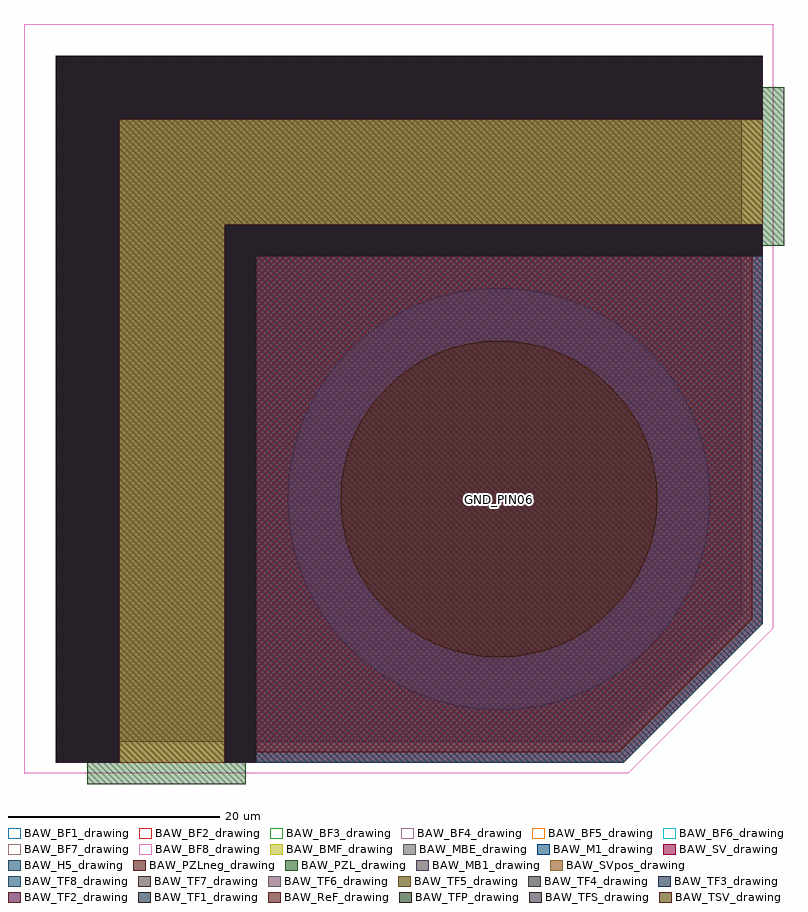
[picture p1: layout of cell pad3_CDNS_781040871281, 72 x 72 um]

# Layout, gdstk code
from math import pi, radians
import gdstk
lib = gdstk.Library(unit=1e-6, precision=1e-09)
def P(c, l, *ps):  # polygons
    for p in ps: c.add(gdstk.Polygon(p, *l))
BAW_MBE_drawing = (2, 0)
BAW_PZL_drawing = (6, 0)
BAW_SV_drawing = (7, 0)
BAW_M1_drawing = (8, 0)
BAW_MB1_drawing = (10, 0)
BAW_TSV_drawing = (11, 0)
BAW_TFS_drawing = (25, 0)
BAW_TFP_drawing = (26, 0)
BAW_TF1_drawing = (27, 0)
BAW_TF2_drawing = (28, 0)
BAW_TF3_drawing = (29, 0)
BAW_TF4_drawing = (30, 0)
BAW_TF5_drawing = (31, 0)
BAW_TF6_drawing = (32, 0)
BAW_ReF_drawing = (33, 0)
EM_VPT_drawing = (35, 0)
BAW_TF7_drawing = (48, 0)
BAW_TF8_drawing = (49, 0)
BAW_BMF_drawing = (55, 0)
BAW_BF1_drawing = (140, 0)
BAW_BF2_drawing = (141, 0)
BAW_BF3_drawing = (142, 0)
BAW_BF4_drawing = (143, 0)
BAW_BF5_drawing = (144, 0)
BAW_BF6_drawing = (145, 0)
BAW_BF7_drawing = (146, 0)
BAW_BF8_drawing = (147, 0)
BAW_H5_drawing = (202, 0)
BAW_PZLneg_drawing = (264, 0)
BAW_SVpos_drawing = (265, 0)

pzlb3_cdns_781040871282 = lib.new_cell('pzlb3_CDNS_781040871282')
P(pzlb3_cdns_781040871282, BAW_BF1_drawing, [(65,19),(19,19),(19,65),(-6,65),(-6,-6),(65,-6)])
P(pzlb3_cdns_781040871282, BAW_BF2_drawing, [(65,19),(19,19),(19,65),(-6,65),(-6,-6),(65,-6)])
P(pzlb3_cdns_781040871282, BAW_BF3_drawing, [(65,19),(19,19),(19,65),(-6,65),(-6,-6),(65,-6)])
P(pzlb3_cdns_781040871282, BAW_BF4_drawing, [(65,19),(19,19),(19,65),(-6,65),(-6,-6),(65,-6)])
P(pzlb3_cdns_781040871282, BAW_BF5_drawing, [(65,19),(19,19),(19,65),(-6,65),(-6,-6),(65,-6)])
P(pzlb3_cdns_781040871282, BAW_BF6_drawing, [(65,19),(19,19),(19,65),(-6,65),(-6,-6),(65,-6)])
P(pzlb3_cdns_781040871282, BAW_BF7_drawing, [(65,19),(19,19),(19,65),(-6,65),(-6,-6),(65,-6)])
P(pzlb3_cdns_781040871282, BAW_BF8_drawing, [(65,19),(19,19),(19,65),(-6,65),(-6,-6),(65,-6)])
pzlb3_cdns_781040871282.add(gdstk.FlexPath([(7.5,66),(7.5,7.5),(66,7.5)], 15, ends="flush", simple_path=True, layer=6, datatype=0))  # BAW_PZL_drawing
pzlb3_cdns_781040871282.add(gdstk.FlexPath([(0,64),(0,0),(64,0)], 6, ends="flush", simple_path=True, layer=49, datatype=0))  # BAW_TF8_drawing
pzlb3_cdns_781040871282.add(gdstk.FlexPath([(14.5,64),(14.5,14.5),(64,14.5)], 3, ends="flush", simple_path=True, layer=49, datatype=0))  # BAW_TF8_drawing
pzlb3_cdns_781040871282.add(gdstk.FlexPath([(0,64),(0,0),(64,0)], 6, ends="flush", simple_path=True, layer=48, datatype=0))  # BAW_TF7_drawing
pzlb3_cdns_781040871282.add(gdstk.FlexPath([(14.5,64),(14.5,14.5),(64,14.5)], 3, ends="flush", simple_path=True, layer=48, datatype=0))  # BAW_TF7_drawing
pzlb3_cdns_781040871282.add(gdstk.FlexPath([(0,64),(0,0),(64,0)], 6, ends="flush", simple_path=True, layer=32, datatype=0))  # BAW_TF6_drawing
pzlb3_cdns_781040871282.add(gdstk.FlexPath([(14.5,64),(14.5,14.5),(64,14.5)], 3, ends="flush", simple_path=True, layer=32, datatype=0))  # BAW_TF6_drawing
pzlb3_cdns_781040871282.add(gdstk.FlexPath([(0,64),(0,0),(64,0)], 6, ends="flush", simple_path=True, layer=31, datatype=0))  # BAW_TF5_drawing
pzlb3_cdns_781040871282.add(gdstk.FlexPath([(14.5,64),(14.5,14.5),(64,14.5)], 3, ends="flush", simple_path=True, layer=31, datatype=0))  # BAW_TF5_drawing
pzlb3_cdns_781040871282.add(gdstk.FlexPath([(0,64),(0,0),(64,0)], 6, ends="flush", simple_path=True, layer=30, datatype=0))  # BAW_TF4_drawing
pzlb3_cdns_781040871282.add(gdstk.FlexPath([(14.5,64),(14.5,14.5),(64,14.5)], 3, ends="flush", simple_path=True, layer=30, datatype=0))  # BAW_TF4_drawing
pzlb3_cdns_781040871282.add(gdstk.FlexPath([(0,64),(0,0),(64,0)], 6, ends="flush", simple_path=True, layer=29, datatype=0))  # BAW_TF3_drawing
pzlb3_cdns_781040871282.add(gdstk.FlexPath([(14.5,64),(14.5,14.5),(64,14.5)], 3, ends="flush", simple_path=True, layer=29, datatype=0))  # BAW_TF3_drawing
pzlb3_cdns_781040871282.add(gdstk.FlexPath([(0,64),(0,0),(64,0)], 6, ends="flush", simple_path=True, layer=28, datatype=0))  # BAW_TF2_drawing
pzlb3_cdns_781040871282.add(gdstk.FlexPath([(14.5,64),(14.5,14.5),(64,14.5)], 3, ends="flush", simple_path=True, layer=28, datatype=0))  # BAW_TF2_drawing
pzlb3_cdns_781040871282.add(gdstk.FlexPath([(0,64),(0,0),(64,0)], 6, ends="flush", simple_path=True, layer=27, datatype=0))  # BAW_TF1_drawing
pzlb3_cdns_781040871282.add(gdstk.FlexPath([(14.5,64),(14.5,14.5),(64,14.5)], 3, ends="flush", simple_path=True, layer=27, datatype=0))  # BAW_TF1_drawing
pzlb3_cdns_781040871282.add(gdstk.FlexPath([(0,64),(0,0),(64,0)], 6, ends="flush", simple_path=True, layer=33, datatype=0))  # BAW_ReF_drawing
pzlb3_cdns_781040871282.add(gdstk.FlexPath([(14.5,64),(14.5,14.5),(64,14.5)], 3, ends="flush", simple_path=True, layer=33, datatype=0))  # BAW_ReF_drawing
pzlb3_cdns_781040871282.add(gdstk.FlexPath([(0,64),(0,0),(64,0)], 6, ends="flush", simple_path=True, layer=26, datatype=0))  # BAW_TFP_drawing
pzlb3_cdns_781040871282.add(gdstk.FlexPath([(14.5,64),(14.5,14.5),(64,14.5)], 3, ends="flush", simple_path=True, layer=26, datatype=0))  # BAW_TFP_drawing
pzlb3_cdns_781040871282.add(gdstk.FlexPath([(0,64),(0,0),(64,0)], 6, ends="flush", simple_path=True, layer=25, datatype=0))  # BAW_TFS_drawing
pzlb3_cdns_781040871282.add(gdstk.FlexPath([(14.5,64),(14.5,14.5),(64,14.5)], 3, ends="flush", simple_path=True, layer=25, datatype=0))  # BAW_TFS_drawing
pzlb3_cdns_781040871282.add(gdstk.FlexPath([(0,64),(0,0),(64,0)], 6, ends="flush", simple_path=True, layer=7, datatype=0))  # BAW_SV_drawing
pzlb3_cdns_781040871282.add(gdstk.FlexPath([(14.5,64),(14.5,14.5),(64,14.5)], 3, ends="flush", simple_path=True, layer=7, datatype=0))  # BAW_SV_drawing
pzlb3_cdns_781040871282.add(gdstk.FlexPath([(0,64),(0,0),(64,0)], 6, ends="flush", simple_path=True, layer=8, datatype=0))  # BAW_M1_drawing
pzlb3_cdns_781040871282.add(gdstk.FlexPath([(14.5,64),(14.5,14.5),(64,14.5)], 3, ends="flush", simple_path=True, layer=8, datatype=0))  # BAW_M1_drawing
pzlb3_cdns_781040871282.add(gdstk.FlexPath([(6.5,64),(6.5,6.5),(64,6.5)], 19, ends="flush", simple_path=True, layer=55, datatype=0))  # BAW_BMF_drawing
pzlb3_cdns_781040871282.add(gdstk.FlexPath([(8,64),(8,8),(64,8)], 10, ends="flush", simple_path=True, layer=265, datatype=0))  # BAW_SVpos_drawing
pzlb3_cdns_781040871282.add(gdstk.FlexPath([(6.5,62),(6.5,6.5),(62,6.5)], 19, ends="flush", simple_path=True, layer=2, datatype=0))  # BAW_MBE_drawing

pad3_cdns_781040871281 = lib.new_cell('pad3_CDNS_781040871281')
P(pad3_cdns_781040871281, BAW_MBE_drawing, [(-23,-23),(-23,23),(23,23),(23,-11),(11,-23)])
P(pad3_cdns_781040871281, BAW_SV_drawing, [(-25,-25),(-25,25),(25,25),(25,-11.828),(11.828,-25)])
P(pad3_cdns_781040871281, BAW_M1_drawing, [(-25,-25),(-25,25),(25,25),(25,-11.828),(11.828,-25)])
P(pad3_cdns_781040871281, BAW_MB1_drawing, [(20,0),(19.904,1.96),(19.616,3.902),(19.139,5.806),(18.478,7.654),(17.638,9.428),(16.629,11.111),(15.46,12.688),(14.142,14.142),(12.688,15.46),(11.111,16.629),(9.428,17.638),(7.654,18.478),(5.806,19.139),(3.902,19.616),(1.96,19.904),(0,20),(-1.96,19.904),(-3.902,19.616),(-5.806,19.139),(-7.654,18.478),(-9.428,17.638),(-11.111,16.629),(-12.688,15.46),(-14.142,14.142),(-15.46,12.688),(-16.629,11.111),(-17.638,9.428),(-18.478,7.654),(-19.139,5.806),(-19.616,3.902),(-19.904,1.96),(-20,0),(-19.904,-1.96),(-19.616,-3.902),(-19.139,-5.806),(-18.478,-7.654),(-17.638,-9.428),(-16.629,-11.111),(-15.46,-12.688),(-14.142,-14.142),(-12.688,-15.46),(-11.111,-16.629),(-9.428,-17.638),(-7.654,-18.478),(-5.806,-19.139),(-3.902,-19.616),(-1.96,-19.904),(0,-20),(1.96,-19.904),(3.902,-19.616),(5.806,-19.139),(7.654,-18.478),(9.428,-17.638),(11.111,-16.629),(12.688,-15.46),(14.142,-14.142),(15.46,-12.688),(16.629,-11.111),(17.638,-9.428),(18.478,-7.654),(19.139,-5.806),(19.616,-3.902),(19.904,-1.96)])
P(pad3_cdns_781040871281, BAW_TSV_drawing, [(15,0),(14.928,1.47),(14.712,2.926),(14.354,4.354),(13.858,5.74),(13.229,7.071),(12.472,8.334),(11.595,9.516),(10.607,10.607),(9.516,11.595),(8.334,12.472),(7.071,13.229),(5.74,13.858),(4.354,14.354),(2.926,14.712),(1.47,14.928),(0,15),(-1.47,14.928),(-2.926,14.712),(-4.354,14.354),(-5.74,13.858),(-7.071,13.229),(-8.334,12.472),(-9.516,11.595),(-10.607,10.607),(-11.595,9.516),(-12.472,8.334),(-13.229,7.071),(-13.858,5.74),(-14.354,4.354),(-14.712,2.926),(-14.928,1.47),(-15,0),(-14.928,-1.47),(-14.712,-2.926),(-14.354,-4.354),(-13.858,-5.74),(-13.229,-7.071),(-12.472,-8.334),(-11.595,-9.516),(-10.607,-10.607),(-9.516,-11.595),(-8.334,-12.472),(-7.071,-13.229),(-5.74,-13.858),(-4.354,-14.354),(-2.926,-14.712),(-1.47,-14.928),(0,-15),(1.47,-14.928),(2.926,-14.712),(4.354,-14.354),(5.74,-13.858),(7.071,-13.229),(8.334,-12.472),(9.516,-11.595),(10.607,-10.607),(11.595,-9.516),(12.472,-8.334),(13.229,-7.071),(13.858,-5.74),(14.354,-4.354),(14.712,-2.926),(14.928,-1.47)])
P(pad3_cdns_781040871281, BAW_BMF_drawing, [(-25,-25),(-25,25),(25,25),(25,-11.828),(11.828,-25)])
P(pad3_cdns_781040871281, BAW_BF1_drawing, [(-26,-26),(-26,26),(26,26),(26,-12.243),(12.243,-26)])
P(pad3_cdns_781040871281, BAW_BF2_drawing, [(-26,-26),(-26,26),(26,26),(26,-12.243),(12.243,-26)])
P(pad3_cdns_781040871281, BAW_BF3_drawing, [(-26,-26),(-26,26),(26,26),(26,-12.243),(12.243,-26)])
P(pad3_cdns_781040871281, BAW_BF4_drawing, [(-26,-26),(-26,26),(26,26),(26,-12.243),(12.243,-26)])
P(pad3_cdns_781040871281, BAW_BF5_drawing, [(-26,-26),(-26,26),(26,26),(26,-12.243),(12.243,-26)])
P(pad3_cdns_781040871281, BAW_BF6_drawing, [(-26,-26),(-26,26),(26,26),(26,-12.243),(12.243,-26)])
P(pad3_cdns_781040871281, BAW_BF7_drawing, [(-26,-26),(-26,26),(26,26),(26,-12.243),(12.243,-26)])
P(pad3_cdns_781040871281, BAW_BF8_drawing, [(-26,-26),(-26,26),(26,26),(26,-12.243),(12.243,-26)])
P(pad3_cdns_781040871281, BAW_H5_drawing, [(-25,-25),(-25,25),(25,25),(25,-11.828),(11.828,-25)])
P(pad3_cdns_781040871281, BAW_PZLneg_drawing, [(-24,-24),(-24,24),(24,24),(24,-11.414),(11.414,-24)])
pad3_cdns_781040871281.add(gdstk.FlexPath([(-30,0),(30,0)], 0, ends="flush", simple_path=True, layer=35, datatype=0))  # EM_VPT_drawing
pad3_cdns_781040871281.add(gdstk.Reference(pzlb3_cdns_781040871282, (-39,39), rotation=3*pi/2))
pad3_cdns_781040871281.add(gdstk.Label('GND_PIN06', (0,0), layer=71, texttype=0))

lib.write_gds('pad3_CDNS_781040871281.gds')
